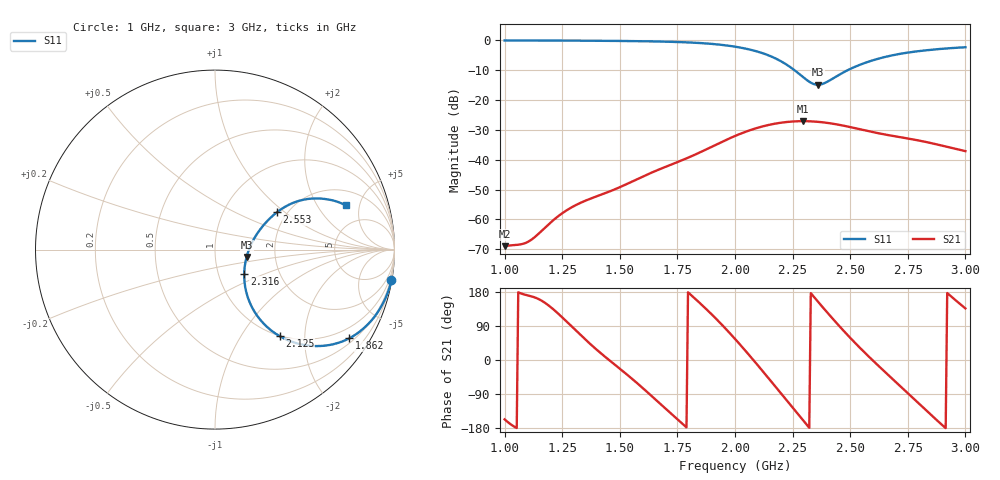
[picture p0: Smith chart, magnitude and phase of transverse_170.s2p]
! TOUCHSTONE file generated by CST MICROWAVE STUDIO
! Date and time: Tue Mar 11 13:57:20 2025
! Project name: transverse.cst
! Parameters = {Fracture=5; B=10; D=160; F=25; Feed=2.85625; L=100; M=10; R=0.384908; S=1; Theta=180; length=57.125; wave=114.25}
! Header version: 2024
! Port assignment regex: !\s*Touchstone port\s*([0-9]+)\s*=\s*(CST MWS port|CST DES external port|CST DES block port)\s*(.+)\s* \(\"(.*)\"\)(\s*mode\s*([0-9]+))?.*
! Touchstone port assignment:
! Touchstone port 1 = CST MWS port 1 ("")
! Touchstone port 2 = CST MWS port 2 ("")
# GHz S MA R 50
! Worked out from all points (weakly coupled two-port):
!   305 points, 1 GHz to 3 GHz, reference 50 ohm
!   highest |S21| = -27.06 dB at 2.296 GHz (marker M1); lowest = -68.9 dB at 1 GHz (marker M2)
!   lowest |S11| = -14.9 dB at 2.362 GHz (marker M3), VSWR 1.44, Z = 71.1 - j6 ohm
!   |S11| at or under -10 dB: 2.258 GHz to 2.488 GHz (229.9 MHz wide, 9.69 % of centre)
!   S12 and S22 are empty: the file has one direction only
!   S11 on the Smith chart (normalised r, x): 1 GHz: 0, -12; 1.862 GHz: 0.64, -3.21; 2.125 GHz: 0.99, -1.50; 2.316 GHz: 1.33, -0.37; 2.553 GHz: 1.78, +0.89; 3 GHz: 3.03, +3.65
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1  0.9976 -9.8  0.0003572 -156.6  0 0.0  0 0.0
1.07237  0.9969 -10.7  0.0003848 175.3  0 0.0  0 0.0
1.10526  0.9964 -11.2  0.0004303 169.8  0 0.0  0 0.0
1.24342  0.9927 -13.5  0.001219 116.3  0 0.0  0 0.0
1.33553  0.9894 -15.2  0.001948 62.6  0 0.0  0 0.0
1.48684  0.9798 -18.5  0.003303 -16.5  0 0.0  0 0.0
1.67105  0.9577 -24.2  0.006902 -113.1  0 0.0  0 0.0
1.86184  0.8965 -33.5  0.0141 142.1  0 0.0  0 0.0
2  0.7851 -43.2  0.02505 55.7  0 0.0  0 0.0
2.06579  0.6998 -48.5  0.03134 9.9  0 0.0  0 0.0
2.125  0.601 -53.3  0.03666 -33.0  0 0.0  0 0.0
2.21053  0.4229 -57.6  0.04234 -96.3  0 0.0  0 0.0
2.29605  0.2418 -47.2  0.04437 -159.6  0 0.0  0 0.0
2.31579  0.2113 -39.6  0.04425 -174.1  0 0.0  0 0.0
2.33553  0.1902 -29.3  0.04392 171.6  0 0.0  0 0.0
2.36184  0.1807 -13.1  0.04317 152.6  0 0.0  0 0.0
2.39474  0.1975 5.3  0.0418 129.3  0 0.0  0 0.0
2.45395  0.2686 23.2  0.03839 88.7  0 0.0  0 0.0
2.55263  0.4044 31.1  0.03181 25.8  0 0.0  0 0.0
2.67105  0.5499 29.9  0.02566 -42.9  0 0.0  0 0.0
2.82895  0.6823 24.3  0.01988 -132.6  0 0.0  0 0.0
3  0.7681 18.7  0.01396 136.1  0 0.0  0 0.0
